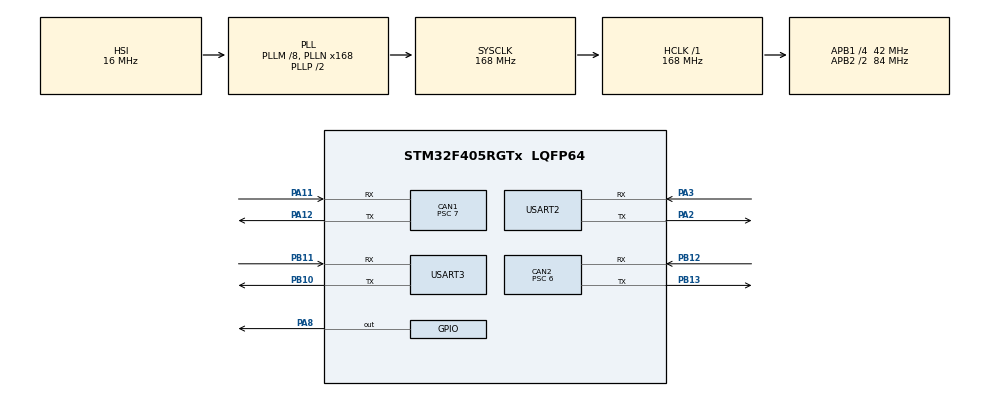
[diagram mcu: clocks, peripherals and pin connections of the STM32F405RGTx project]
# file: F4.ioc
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CAN1.BS1=CAN_BS1_2TQ
CAN1.BS2=CAN_BS2_3TQ
CAN1.CalculateBaudRate=999999
CAN1.CalculateTimeBit=1000
CAN1.CalculateTimeQuantum=166.66666666666669
CAN1.Mode=CAN_MODE_NORMAL
CAN1.Prescaler=7
CAN2.BS1=CAN_BS1_4TQ
CAN2.BS2=CAN_BS2_2TQ
CAN2.CalculateBaudRate=1000000
CAN2.CalculateTimeBit=1000
CAN2.CalculateTimeQuantum=142.85714285714286
CAN2.Mode=CAN_MODE_NORMAL
CAN2.Prescaler=6
Dma.Request0=USART2_RX
Dma.Request1=USART2_TX
Dma.Request2=USART3_RX
Dma.Request3=USART3_TX
Dma.USART2_RX.0.Direction=DMA_PERIPH_TO_MEMORY
Dma.USART2_RX.0.FIFOMode=DMA_FIFOMODE_DISABLE
Dma.USART2_RX.0.Instance=DMA1_Stream5
Dma.USART2_RX.0.MemDataAlignment=DMA_MDATAALIGN_BYTE
Dma.USART2_RX.0.MemInc=DMA_MINC_ENABLE
Dma.USART2_RX.0.Mode=DMA_NORMAL
Dma.USART2_RX.0.PeriphDataAlignment=DMA_PDATAALIGN_BYTE
Dma.USART2_RX.0.PeriphInc=DMA_PINC_DISABLE
Dma.USART2_RX.0.Priority=DMA_PRIORITY_LOW
Dma.USART2_TX.1.Direction=DMA_MEMORY_TO_PERIPH
Dma.USART2_TX.1.FIFOMode=DMA_FIFOMODE_DISABLE
Dma.USART2_TX.1.Instance=DMA1_Stream6
Dma.USART2_TX.1.MemDataAlignment=DMA_MDATAALIGN_BYTE
Dma.USART2_TX.1.MemInc=DMA_MINC_ENABLE
Dma.USART2_TX.1.Mode=DMA_NORMAL
Dma.USART2_TX.1.PeriphDataAlignment=DMA_PDATAALIGN_BYTE
Dma.USART2_TX.1.PeriphInc=DMA_PINC_DISABLE
Dma.USART2_TX.1.Priority=DMA_PRIORITY_LOW
Dma.USART3_RX.2.Direction=DMA_PERIPH_TO_MEMORY
Dma.USART3_RX.2.FIFOMode=DMA_FIFOMODE_DISABLE
Dma.USART3_RX.2.Instance=DMA1_Stream1
Dma.USART3_RX.2.MemDataAlignment=DMA_MDATAALIGN_BYTE
Dma.USART3_RX.2.MemInc=DMA_MINC_ENABLE
Dma.USART3_RX.2.Mode=DMA_NORMAL
Dma.USART3_RX.2.PeriphDataAlignment=DMA_PDATAALIGN_BYTE
Dma.USART3_RX.2.PeriphInc=DMA_PINC_DISABLE
Dma.USART3_RX.2.Priority=DMA_PRIORITY_LOW
Dma.USART3_TX.3.Direction=DMA_MEMORY_TO_PERIPH
Dma.USART3_TX.3.FIFOMode=DMA_FIFOMODE_DISABLE
Dma.USART3_TX.3.Instance=DMA1_Stream3
Dma.USART3_TX.3.MemDataAlignment=DMA_MDATAALIGN_BYTE
Dma.USART3_TX.3.MemInc=DMA_MINC_ENABLE
Dma.USART3_TX.3.Mode=DMA_NORMAL
Dma.USART3_TX.3.PeriphDataAlignment=DMA_PDATAALIGN_BYTE
Dma.USART3_TX.3.PeriphInc=DMA_PINC_DISABLE
Dma.USART3_TX.3.Priority=DMA_PRIORITY_LOW
FREERTOS.Tasks01=defaultTask,0,128,StartDefaultTask,Default,NULL,Dynamic,NULL,NULL
Mcu.Family=STM32F4
Mcu.Name=STM32F405RGTx
Mcu.Package=LQFP64
NVIC.CAN1_RX0_IRQn=true\:5\:0\:false\:false\:true\:true\:true\:true\:true
NVIC.DMA1_Stream1_IRQn=true\:5\:0\:false\:false\:true\:true\:false\:true\:true
NVIC.DMA1_Stream3_IRQn=true\:5\:0\:false\:false\:true\:true\:false\:true\:true
NVIC.DMA1_Stream5_IRQn=true\:5\:0\:false\:false\:true\:true\:false\:true\:true
NVIC.DMA1_Stream6_IRQn=true\:5\:0\:false\:false\:true\:true\:false\:true\:true
NVIC.PriorityGroup=NVIC_PRIORITYGROUP_4
NVIC.TIM2_IRQn=true\:15\:0\:false\:false\:true\:false\:false\:true\:true
NVIC.TimeBase=TIM2_IRQn
NVIC.TimeBaseIP=TIM2
NVIC.USART2_IRQn=true\:5\:0\:false\:false\:true\:true\:true\:true\:true
PA11.Mode=CAN_Activate
PA11.Signal=CAN1_RX
PA12.Mode=CAN_Activate
PA12.Signal=CAN1_TX
PA13.Mode=Serial_Wire
PA13.Signal=SYS_JTMS-SWDIO
PA14.Mode=Serial_Wire
PA14.Signal=SYS_JTCK-SWCLK
PA2.Mode=Asynchronous
PA2.Signal=USART2_TX
PA3.Mode=Asynchronous
PA3.Signal=USART2_RX
PA8.PinState=GPIO_PIN_SET
PA8.Signal=GPIO_Output
PB10.Mode=Asynchronous
PB10.Signal=USART3_TX
PB11.Mode=Asynchronous
PB11.Signal=USART3_RX
PB12.Mode=CAN_Activate
PB12.Signal=CAN2_RX
PB13.Mode=CAN_Activate
PB13.Signal=CAN2_TX
PC14-OSC32_IN.Mode=LSE-External-Oscillator
PC14-OSC32_IN.Signal=RCC_OSC32_IN
PC15-OSC32_OUT.Mode=LSE-External-Oscillator
PC15-OSC32_OUT.Signal=RCC_OSC32_OUT
PH0-OSC_IN.Mode=HSE-External-Oscillator
PH0-OSC_IN.Signal=RCC_OSC_IN
PH1-OSC_OUT.Mode=HSE-External-Oscillator
PH1-OSC_OUT.Signal=RCC_OSC_OUT
ProjectManager.HeapSize=0x200
ProjectManager.StackSize=0x400
ProjectManager.TargetToolchain=MDK-ARM V5.32
RCC.48MHZClocksFreq_Value=84000000
RCC.AHBFreq_Value=168000000
RCC.APB1CLKDivider=RCC_HCLK_DIV4
RCC.APB1Freq_Value=42000000
RCC.APB1TimFreq_Value=84000000
RCC.APB2CLKDivider=RCC_HCLK_DIV2
RCC.APB2Freq_Value=84000000
RCC.APB2TimFreq_Value=168000000
RCC.CortexFreq_Value=168000000
RCC.HCLKFreq_Value=168000000
RCC.HSE_VALUE=25000000
RCC.HSI_VALUE=16000000
RCC.PLLM=8
RCC.PLLN=168
RCC.SYSCLKFreq_VALUE=168000000
RCC.SYSCLKSource=RCC_SYSCLKSOURCE_PLLCLK
RCC.VCOOutputFreq_Value=336000000
USART2.VirtualMode=VM_ASYNC
USART3.VirtualMode=VM_ASYNC
VP_FREERTOS_VS_CMSIS_V1.Mode=CMSIS_V1
VP_SYS_VS_tim2.Mode=TIM2
board=custom

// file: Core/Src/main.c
/* USER CODE BEGIN Header */
/**
  ******************************************************************************
  * @file           : main.c
  * @brief          : Main program body
  ******************************************************************************
  * @attention
  *
  * Copyright (c) 2024 STMicroelectronics.
  * All rights reserved.
  *
  * This software is licensed under terms that can be found in the LICENSE file
  * in the root directory of this software component.
  * If no LICENSE file comes with this software, it is provided AS-IS.
  *
  ******************************************************************************
  */
/* USER CODE END Header */
#include "main.h"
#include "cmsis_os.h"
#include "can.h"
#include "dma.h"
#include "usart.h"
#include "gpio.h"

/* USER CODE BEGIN Includes */
#include "string.h"
#include "canconfig.h"
#include "pid.h"
/* USER CODE END Includes */

/* USER CODE BEGIN PV */
TaskHandle_t can_test_Handle = NULL;
pid_struct_t GM6020_pid;
extern motor_info_t motor_yaw_info;

/* USER CODE END PV */

void SystemClock_Config(void);
void MX_FREERTOS_Init(void);

/* USER CODE BEGIN 0 */
void can_test(void  * argument)
{
	HAL_CAN_Start(&hcan1);
   bsp_can1_filter_config();
// HAL_CAN_ActivateNotification(&hcan1, CAN_IT_RX_FIFO0_MSG_PENDING);
	 uint8_t Set_GM6020_Data[8];//发送的数据（电压）
	 uint16_t v1 ;
//   uint16_t v1 = pid_calc(&GM6020_pid,1000,motor_yaw_info.rotor_speed);  //电压/电流配置
	 Set_GM6020_Data[0]=(v1>>8)&0xff;// 数据解析到数组分配给id号为1 电机
	 Set_GM6020_Data[1] =  (v1)&0xff;

	for(;;){
//     uint8_t Set_GM6020_Data[8];//发送的数据（电压）
    v1 = pid_calc(&GM6020_pid,200,motor_yaw_info.rotor_speed);  //电压/电流配置
	 Set_GM6020_Data[0]=(v1>>8)&0xff;// 数据解析到数组分配给id号为1 电机
	 Set_GM6020_Data[1] =  (v1)&0xff;
    //发送CAN数据信息
     can1_transmit(CAN_ID_STD,0x1FF,0,Set_GM6020_Data,8);

		//接收电机报文
	//	HAL_CAN_RxFifo0MsgPendingCallback(&hcan1);
  //  Can1Receive_motor();
		osDelay(1);

	}

}

/* USER CODE END 0 */

int main(void)
{

  /* MCU Configuration--------------------------------------------------------*/

  /* Reset of all peripherals, Initializes the Flash interface and the Systick. */
  HAL_Init();

  /* Configure the system clock */
  SystemClock_Config();

  /* Initialize all configured peripherals */
  MX_GPIO_Init();
  MX_DMA_Init();
  MX_CAN1_Init();
  MX_CAN2_Init();
  MX_USART2_UART_Init();
  MX_USART3_UART_Init();
  /* USER CODE BEGIN 2 */
	HAL_CAN_ActivateNotification(&hcan1, CAN_IT_RX_FIFO0_MSG_PENDING);

	// pid 初始化
  pid_init(&GM6020_pid,40,3,4,30000,30000);

  //创建任务
	xTaskCreate(can_test,"can_test",128,NULL,4,&can_test_Handle);

  /* USER CODE END 2 */

  /* Call init function for freertos objects (in freertos.c) */
  MX_FREERTOS_Init();

  /* Start scheduler */
  osKernelStart();
  /* We should never get here as control is now taken by the scheduler */
  /* Infinite loop */
  while (1)
  {

  }
}

void SystemClock_Config(void)
{
  RCC_OscInitTypeDef RCC_OscInitStruct = {0};
  RCC_ClkInitTypeDef RCC_ClkInitStruct = {0};

  /** Configure the main internal regulator output voltage
  */
  __HAL_RCC_PWR_CLK_ENABLE();
  __HAL_PWR_VOLTAGESCALING_CONFIG(PWR_REGULATOR_VOLTAGE_SCALE1);

  /** Initializes the RCC Oscillators according to the specified parameters
  * in the RCC_OscInitTypeDef structure.
  */
  RCC_OscInitStruct.OscillatorType = RCC_OSCILLATORTYPE_HSI;
  RCC_OscInitStruct.HSIState = RCC_HSI_ON;
  RCC_OscInitStruct.HSICalibrationValue = RCC_HSICALIBRATION_DEFAULT;
  RCC_OscInitStruct.PLL.PLLState = RCC_PLL_ON;
  RCC_OscInitStruct.PLL.PLLSource = RCC_PLLSOURCE_HSI;
  RCC_OscInitStruct.PLL.PLLM = 8;
  RCC_OscInitStruct.PLL.PLLN = 168;
  RCC_OscInitStruct.PLL.PLLP = RCC_PLLP_DIV2;
  RCC_OscInitStruct.PLL.PLLQ = 4;
  if (HAL_RCC_OscConfig(&RCC_OscInitStruct) != HAL_OK)
  {
    Error_Handler();
  }

  /** Initializes the CPU, AHB and APB buses clocks
  */
  RCC_ClkInitStruct.ClockType = RCC_CLOCKTYPE_HCLK|RCC_CLOCKTYPE_SYSCLK
                              |RCC_CLOCKTYPE_PCLK1|RCC_CLOCKTYPE_PCLK2;
  RCC_ClkInitStruct.SYSCLKSource = RCC_SYSCLKSOURCE_PLLCLK;
  RCC_ClkInitStruct.AHBCLKDivider = RCC_SYSCLK_DIV1;
  RCC_ClkInitStruct.APB1CLKDivider = RCC_HCLK_DIV4;
  RCC_ClkInitStruct.APB2CLKDivider = RCC_HCLK_DIV2;

  if (HAL_RCC_ClockConfig(&RCC_ClkInitStruct, FLASH_LATENCY_5) != HAL_OK)
  {
    Error_Handler();
  }
}

void HAL_TIM_PeriodElapsedCallback(TIM_HandleTypeDef *htim)
{
  if (htim->Instance == TIM2) {
    HAL_IncTick();
  }
}

void Error_Handler(void)
{
  __disable_irq();
  while (1)
  {
  }
}

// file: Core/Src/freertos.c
/* USER CODE BEGIN Header */
/**
  ******************************************************************************
  * File Name          : freertos.c
  * Description        : Code for freertos applications
  ******************************************************************************
  * @attention
  *
  * Copyright (c) 2024 STMicroelectronics.
  * All rights reserved.
  *
  * This software is licensed under terms that can be found in the LICENSE file
  * in the root directory of this software component.
  * If no LICENSE file comes with this software, it is provided AS-IS.
  *
  ******************************************************************************
  */
/* USER CODE END Header */

#include "FreeRTOS.h"
#include "task.h"
#include "main.h"
#include "cmsis_os.h"

/* USER CODE BEGIN Includes */
#include "stdlib.h"
#include "string.h"
#include "pid.h"
#include "math.h"
#include "canconfig.h"
#include "stdio.h"
extern pid_struct_t GM6020_pid;
extern motor_info_t motor_yaw_info;

/* USER CODE END Includes */

osThreadId defaultTaskHandle;

void StartDefaultTask(void const * argument);

void MX_FREERTOS_Init(void); /* (MISRA C 2004 rule 8.1) */

/* GetIdleTaskMemory prototype (linked to static allocation support) */
void vApplicationGetIdleTaskMemory( StaticTask_t **ppxIdleTaskTCBBuffer, StackType_t **ppxIdleTaskStackBuffer, uint32_t *pulIdleTaskStackSize );

/* USER CODE BEGIN GET_IDLE_TASK_MEMORY */
static StaticTask_t xIdleTaskTCBBuffer;
static StackType_t xIdleStack[configMINIMAL_STACK_SIZE];

void vApplicationGetIdleTaskMemory( StaticTask_t **ppxIdleTaskTCBBuffer, StackType_t **ppxIdleTaskStackBuffer, uint32_t *pulIdleTaskStackSize )
{
  *ppxIdleTaskTCBBuffer = &xIdleTaskTCBBuffer;
  *ppxIdleTaskStackBuffer = &xIdleStack[0];
  *pulIdleTaskStackSize = configMINIMAL_STACK_SIZE;
  /* place for user code */
}
/* USER CODE END GET_IDLE_TASK_MEMORY */

void MX_FREERTOS_Init(void) {

  /* Create the thread(s) */
  /* definition and creation of defaultTask */
  osThreadDef(defaultTask, StartDefaultTask, osPriorityNormal, 0, 128);
  defaultTaskHandle = osThreadCreate(osThread(defaultTask), NULL);

}

void StartDefaultTask(void const * argument)
{
  /* USER CODE BEGIN StartDefaultTask */
  /* Infinite loop */
  for(;;)
  {
//		uint8_t PidData[8];
//		get_PIDdata(PidData,8);
		printf("%f\n",motor_yaw_info.rotor_speed);
    osDelay(1);
  }
  /* USER CODE END StartDefaultTask */
}
